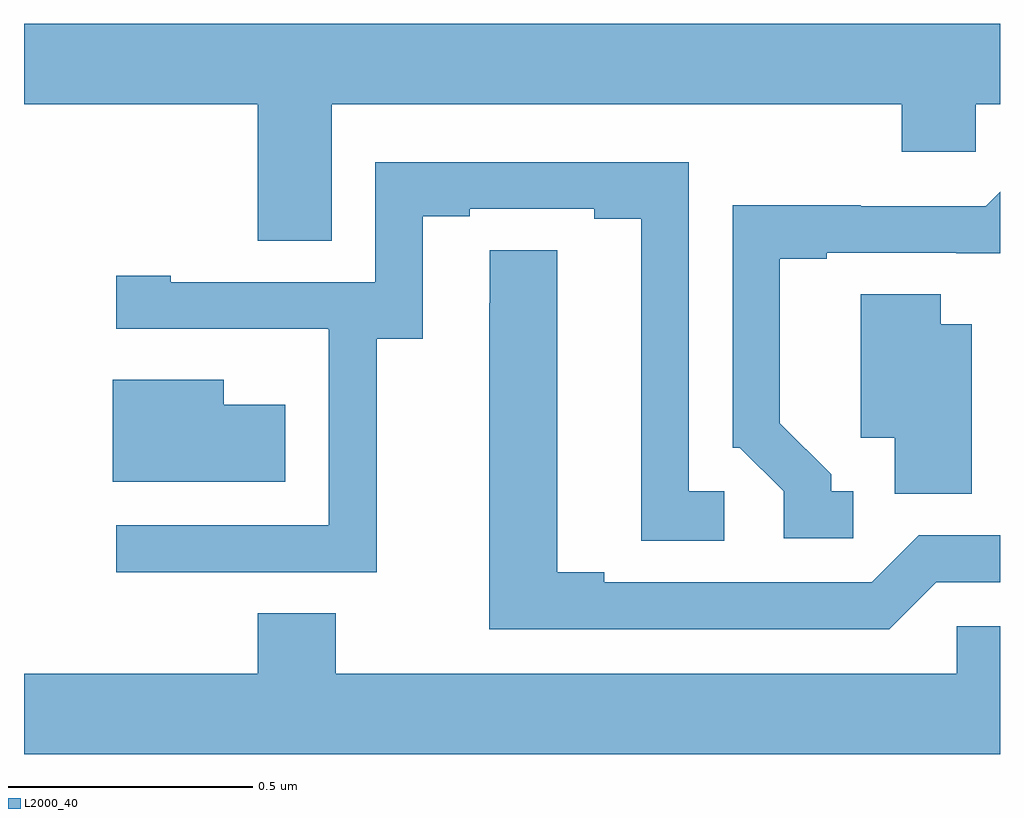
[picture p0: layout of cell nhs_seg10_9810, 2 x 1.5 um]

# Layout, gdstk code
import gdstk
lib = gdstk.Library(unit=1e-6, precision=1e-09)
def P(c, l, *ps):  # polygons
    for p in ps: c.add(gdstk.Polygon(p, *l))
L2000_40 = (2000, 40)

nhs_seg10_9810 = lib.new_cell('nhs_seg10_9810')
P(nhs_seg10_9810, L2000_40, [(234.631,1310.972),(235.799,1310.972),(235.799,1310.874),(235.95,1310.874),(235.95,1310.972),(236,1310.972),(236,1311.136),(234,1311.136),(234,1310.972),(234.479,1310.972),(234.479,1310.692),(234.631,1310.692)],
  [(234.723,1310.491),(234.817,1310.491),(234.817,1310.742),(234.913,1310.742),(234.913,1310.757),(235.169,1310.757),(235.169,1310.737),(235.265,1310.737),(235.265,1310.077),(235.435,1310.077),(235.435,1310.178),(235.362,1310.178),(235.362,1310.853),(234.72,1310.853),(234.72,1310.607),(234.301,1310.607),(234.301,1310.62),(234.189,1310.62),(234.189,1310.511),(234.623,1310.511),(234.623,1310.51),(234.624,1310.51),(234.624,1310.109),(234.189,1310.109),(234.189,1310.013),(234.723,1310.013)],
  [(235.699,1310.178),(235.654,1310.178),(235.654,1310.213),(235.549,1310.318),(235.549,1310.655),(235.645,1310.655),(235.645,1310.667),(235.91,1310.667),(235.91,1310.666),(236,1310.666),(236,1310.792),(235.971,1310.763),(235.715,1310.763),(235.715,1310.765),(235.452,1310.765),(235.452,1310.268),(235.467,1310.268),(235.557,1310.178),(235.557,1310.082),(235.699,1310.082)],
  [(235.869,1309.992),(236,1309.992),(236,1310.088),(235.833,1310.088),(235.737,1309.992),(235.189,1309.992),(235.189,1310.012),(235.093,1310.012),(235.093,1310.672),(234.954,1310.672),(234.954,1310.564),(234.953,1310.564),(234.953,1309.896),(235.773,1309.896)],
  [(235.942,1310.521),(235.879,1310.521),(235.879,1310.582),(235.715,1310.582),(235.715,1310.288),(235.784,1310.288),(235.784,1310.173),(235.942,1310.173)],
  [(234.535,1310.356),(234.409,1310.356),(234.409,1310.407),(234.182,1310.407),(234.182,1310.198),(234.535,1310.198)],
  [(236,1309.902),(235.911,1309.902),(235.911,1309.804),(234.639,1309.804),(234.639,1309.928),(234.479,1309.928),(234.479,1309.804),(234,1309.804),(234,1309.64),(236,1309.64)])

lib.write_gds('nhs_seg10_9810.gds')
